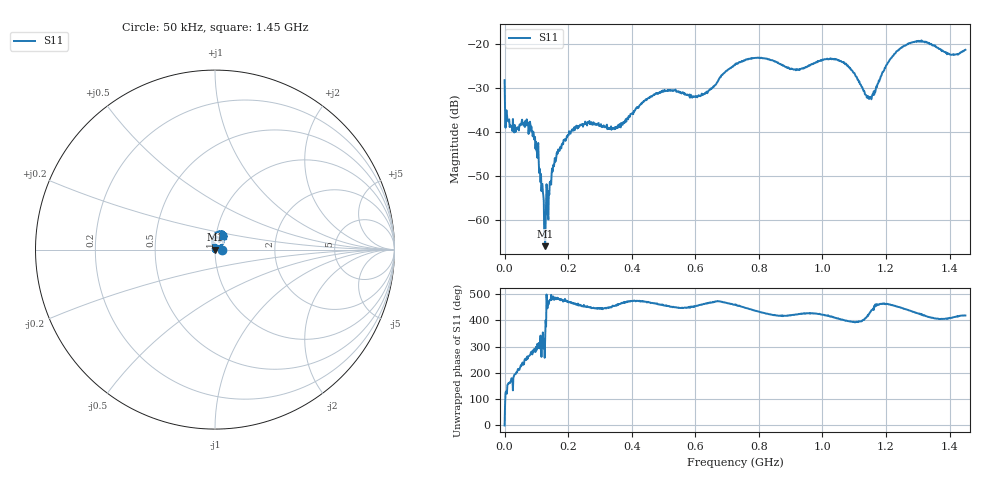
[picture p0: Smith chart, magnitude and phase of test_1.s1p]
! Created with skrf 1.11.0 (http://scikit-rf.org).
# Hz S RI R 50.0
!freq ReS11 ImS11
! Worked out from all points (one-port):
!   1001 points, 50 kHz to 1.45 GHz, reference 50 ohm
!   lowest |S11| = -65.9 dB at 127.6 MHz (marker M1), VSWR 1.00, Z = 50 - j0.029 ohm
!   |S11| at or under -10 dB: start of sweep to end of sweep
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50000  0.039 0.0001
8749700  -0.0127 0.00637
2.32492e7  -0.0116 0.000725
6.67477e7  -0.00329 -0.0125
8.7047e7  0.000118 -0.0103
1.000966e8  0.00208 -0.00581
1.116962e8  0.00269 -0.00212
1.218458e8  0.00144 -0.00125
1.276456e8  0.000413 -0.00029
1.319954e8  -0.00192 0.00168
1.377952e8  -0.00019 0.000998
1.566446e8  -0.00215 0.00389
1.812938e8  -0.00324 0.0065
2.59591e8  -0.000956 0.0119
3.625375e8  -0.00276 0.0121
4.727337e8  -0.00707 0.0259
5.437812e8  0.00046 0.0289
6.220786e8  -0.00486 0.0259
7.25025e8  -0.00985 0.057
8.033223e8  0.0213 0.067
9.062688e8  0.0256 0.0458
1.020815e9  0.037 0.0562
1.087512e9  0.0432 0.0313
1.14986e9  0.00817 0.0235
1.212208e9  -0.0127 0.0654
1.268756e9  0.0171 0.0985
1.406502e9  0.0486 0.0583
1.45e9  0.0446 0.0741
